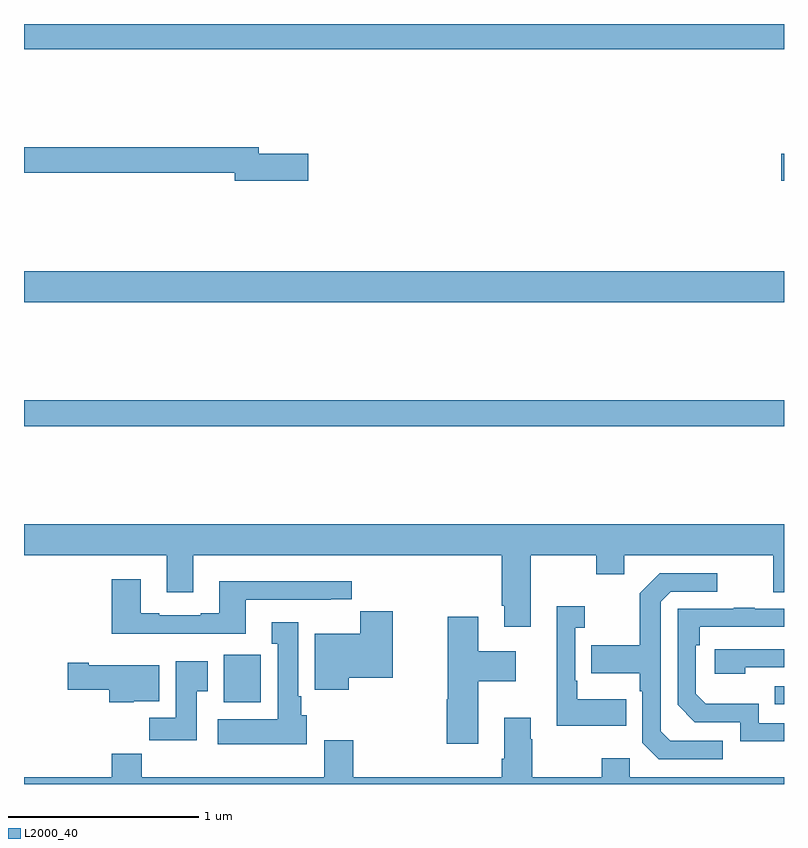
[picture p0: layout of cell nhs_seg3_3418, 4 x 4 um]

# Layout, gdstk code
import gdstk
lib = gdstk.Library(unit=1e-6, precision=1e-09)
def R(c, l, rs):  # rectangles x0, y0, x1, y1
    for r in rs: c.add(gdstk.rectangle(r[:2], r[2:], *l))
def P(c, l, *ps):  # polygons
    for p in ps: c.add(gdstk.Polygon(p, *l))
L2000_40 = (2000, 40)

nhs_seg3_3418 = lib.new_cell('nhs_seg3_3418')
R(nhs_seg3_3418, L2000_40, [(292.951,678.819,293,678.915), (290.051,678.83,290.247,679.081), (289,680.284,293,680.42), (289,680.936,293,681.1), (292.986,681.574,293,681.716), (289,682.268,293,682.4)])
P(nhs_seg3_3418, L2000_40, [(290.497,681.716),(290.236,681.716),(290.236,681.752),(289,681.752),(289,681.616),(290.108,681.616),(290.108,681.574),(290.497,681.574)],
  [(291.667,679.604),(292.012,679.604),(292.012,679.505),(292.159,679.505),(292.159,679.604),(292.943,679.604),(292.943,679.41),(293,679.41),(293,679.768),(289,679.768),(289,679.604),(289.751,679.604),(289.751,679.41),(289.891,679.41),(289.891,679.604),(291.515,679.604),(291.515,679.339),(291.527,679.339),(291.527,679.227),(291.667,679.227)],
  [(292.678,678.627),(292.401,678.627),(292.35,678.678),(292.35,679.359),(292.404,679.413),(292.648,679.413),(292.648,679.509),(292.347,679.509),(292.242,679.403),(292.242,679.131),(291.985,679.131),(291.985,678.983),(292.242,678.983),(292.242,678.887),(292.254,678.887),(292.254,678.618),(292.341,678.531),(292.678,678.531)],
  [(290.167,679.371),(290.615,679.371),(290.615,679.373),(290.724,679.373),(290.724,679.468),(290.027,679.468),(290.027,679.3),(289.931,679.3),(289.931,679.287),(289.711,679.287),(289.711,679.3),(289.615,679.3),(289.615,679.477),(289.463,679.477),(289.463,679.19),(290.167,679.19)],
  [(292.169,678.847),(291.913,678.847),(291.913,678.943),(291.9,678.943),(291.9,679.223),(291.952,679.223),(291.952,679.336),(291.803,679.336),(291.803,678.707),(292.169,678.707)],
  [(293,678.72),(292.866,678.72),(292.866,678.823),(292.589,678.823),(292.536,678.876),(292.536,679.13),(292.556,679.13),(292.556,679.227),(293,679.227),(293,679.323),(292.847,679.323),(292.847,679.328),(292.735,679.328),(292.735,679.323),(292.44,679.323),(292.44,678.816),(292.53,678.726),(292.77,678.726),(292.77,678.624),(293,678.624)],
  [(290.71,678.959),(290.94,678.959),(290.94,679.308),(290.771,679.308),(290.771,679.192),(290.531,679.192),(290.531,678.896),(290.71,678.896)],
  [(291.391,678.941),(291.589,678.941),(291.589,679.099),(291.391,679.099),(291.391,679.279),(291.229,679.279),(291.229,678.845),(291.224,678.845),(291.224,678.612),(291.391,678.612)],
  [(290.488,678.762),(290.458,678.762),(290.458,678.862),(290.443,678.862),(290.443,679.252),(290.303,679.252),(290.303,679.139),(290.336,679.139),(290.336,678.742),(290.019,678.742),(290.019,678.608),(290.488,678.608)],
  [(292.796,679.014),(293,679.014),(293,679.11),(292.635,679.11),(292.635,678.98),(292.796,678.98)],
  [(289.909,678.889),(289.966,678.889),(289.966,679.045),(289.799,679.045),(289.799,678.748),(289.66,678.748),(289.66,678.63),(289.909,678.63)],
  [(289.578,678.836),(289.711,678.836),(289.711,679.024),(289.342,679.024),(289.342,679.037),(289.23,679.037),(289.23,678.895),(289.448,678.895),(289.448,678.83),(289.578,678.83)],
  [(293,678.436),(292.188,678.436),(292.188,678.535),(292.042,678.535),(292.042,678.436),(291.675,678.436),(291.675,678.635),(291.667,678.635),(291.667,678.748),(291.527,678.748),(291.527,678.532),(291.515,678.532),(291.515,678.436),(290.732,678.436),(290.732,678.631),(290.579,678.631),(290.579,678.436),(289.619,678.436),(289.619,678.56),(289.463,678.56),(289.463,678.436),(289,678.436),(289,678.4),(293,678.4)])

lib.write_gds('nhs_seg3_3418.gds')
